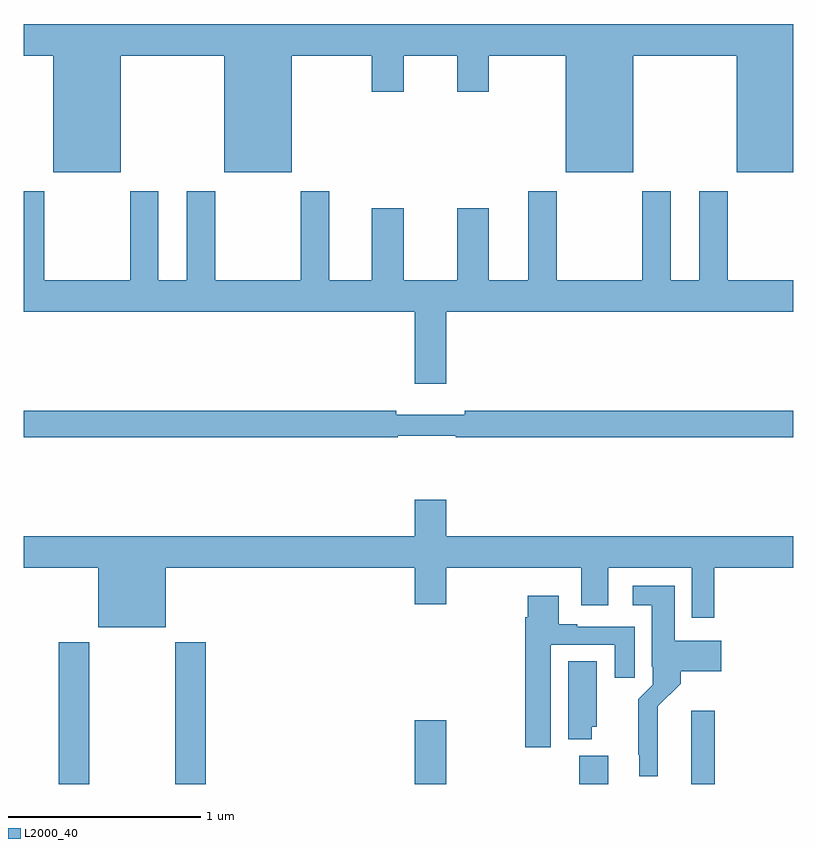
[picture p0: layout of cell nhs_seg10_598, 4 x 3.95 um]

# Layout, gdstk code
import gdstk
lib = gdstk.Library(unit=1e-6, precision=1e-09)
def R(c, l, rs):  # rectangles x0, y0, x1, y1
    for r in rs: c.add(gdstk.rectangle(r[:2], r[2:], *l))
def P(c, l, *ps):  # polygons
    for p in ps: c.add(gdstk.Polygon(p, *l))
L2000_40 = (2000, 40)

nhs_seg10_598 = lib.new_cell('nhs_seg10_598')
R(nhs_seg10_598, L2000_40, [(139.181,1324.5,139.341,1325.236), (139.786,1324.5,139.946,1325.236), (141.032,1324.5,141.196,1324.831), (141.887,1324.5,142.039,1324.648), (142.469,1324.5,142.592,1324.882)])
P(nhs_seg10_598, L2000_40, [(139.504,1328.288),(140.042,1328.288),(140.042,1327.682),(140.392,1327.682),(140.392,1328.288),(140.81,1328.288),(140.81,1328.1),(140.974,1328.1),(140.974,1328.288),(141.254,1328.288),(141.254,1328.1),(141.418,1328.1),(141.418,1328.288),(141.818,1328.288),(141.818,1327.682),(142.168,1327.682),(142.168,1328.288),(142.706,1328.288),(142.706,1327.682),(143,1327.682),(143,1328.452),(139,1328.452),(139,1328.288),(139.154,1328.288),(139.154,1327.682),(139.504,1327.682)],
  [(141.032,1326.582),(141.196,1326.582),(141.196,1326.956),(143,1326.956),(143,1327.12),(142.659,1327.12),(142.659,1327.582),(142.511,1327.582),(142.511,1327.12),(142.363,1327.12),(142.363,1327.582),(142.216,1327.582),(142.216,1327.12),(141.771,1327.12),(141.771,1327.582),(141.623,1327.582),(141.623,1327.12),(141.418,1327.12),(141.418,1327.495),(141.254,1327.495),(141.254,1327.12),(140.974,1327.12),(140.974,1327.495),(140.81,1327.495),(140.81,1327.12),(140.587,1327.12),(140.587,1327.582),(140.44,1327.582),(140.44,1327.12),(139.995,1327.12),(139.995,1327.582),(139.847,1327.582),(139.847,1327.12),(139.699,1327.12),(139.699,1327.582),(139.552,1327.582),(139.552,1327.12),(139.107,1327.12),(139.107,1327.582),(139,1327.582),(139,1326.956),(141.032,1326.956)],
  [(140.945,1326.312),(141.245,1326.312),(141.245,1326.304),(143,1326.304),(143,1326.44),(141.292,1326.44),(141.292,1326.421),(140.936,1326.421),(140.936,1326.44),(139,1326.44),(139,1326.304),(140.945,1326.304)],
  [(139.738,1325.624),(141.032,1325.624),(141.032,1325.436),(141.196,1325.436),(141.196,1325.624),(141.899,1325.624),(141.899,1325.43),(142.039,1325.43),(142.039,1325.624),(142.473,1325.624),(142.473,1325.364),(142.589,1325.364),(142.589,1325.624),(143,1325.624),(143,1325.788),(141.196,1325.788),(141.196,1325.977),(141.032,1325.977),(141.032,1325.788),(139,1325.788),(139,1325.624),(139.388,1325.624),(139.388,1325.315),(139.738,1325.315)],
  [(142.297,1324.904),(142.415,1325.022),(142.415,1325.087),(142.627,1325.087),(142.627,1325.245),(142.384,1325.245),(142.384,1325.53),(142.167,1325.53),(142.167,1325.429),(142.265,1325.429),(142.265,1325.11),(142.269,1325.11),(142.269,1325.016),(142.195,1324.942),(142.195,1324.651),(142.199,1324.651),(142.199,1324.541),(142.297,1324.541)],
  [(141.739,1325.223),(142.073,1325.223),(142.073,1325.052),(142.177,1325.052),(142.177,1325.319),(141.877,1325.319),(141.877,1325.332),(141.781,1325.332),(141.781,1325.479),(141.62,1325.479),(141.62,1325.366),(141.608,1325.366),(141.608,1324.692),(141.739,1324.692)],
  [(141.952,1324.797),(141.979,1324.797),(141.979,1325.138),(141.83,1325.138),(141.83,1324.733),(141.952,1324.733)])

lib.write_gds('nhs_seg10_598.gds')
